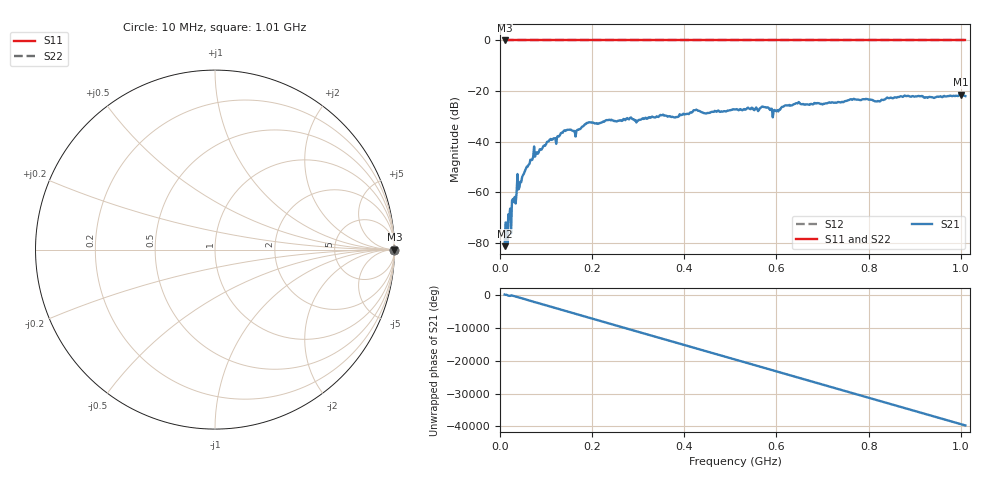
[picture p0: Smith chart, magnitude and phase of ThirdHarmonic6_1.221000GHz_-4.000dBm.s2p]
! 8/16/2025 12:48:21 PM
! C:\ANRITSUVNA\TEMP\TEMP.S2P
! CHANNEL.1
! TR.MEASUREMENT
! RAW.DATA
! RF.CORRECTION.OFF
! AVERAGING.OFF
! IF.BANDWIDTH: 5KHZ
! SWEEPTYPE:  FREQ.SWEEP(Linear)
! Reference Plane Port Info
! PORT:  PORT1  PORT2
! DISTANCE:  0  m  0  m
! TIME:  0  s  0  s
! PHASE.OFFSET:  0  deg.  0  deg.
! LOSS:  0  dB  0  dB
! REF.LOSS:  0  dB  0  dB
! REF.FREQ:  0  Hz  0  Hz
! Power Info
! POWER:  -20  dBm  -20  dBm
! EFF.POWER:  -20  dBm  -20  dBm
! SOURCE.ATTEN:  0  dB  0  dB
! TEST.ATTEN:  0  dB  0  dB
# GHZ S RI R 50.0
! FREQ.GHZ  S11RE  S11IM  S21RE  S21IM  S12RE  S12IM  S22RE  S22IM
!; PortSelection: Port_12
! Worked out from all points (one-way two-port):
!   501 points, 10 MHz to 1.01 GHz, reference 50 ohm
!   highest |S21| = -21.46 dB at 1 GHz (marker M1); lowest = -81.3 dB at 10 MHz (marker M2)
!   lowest |S11| = 0.0 dB at 10 MHz (marker M3)
!   |S11| at or under -10 dB: nowhere
!   |S22| runs from 0.0 to 0.0 dB; largest |S21 - S12| = 1.1
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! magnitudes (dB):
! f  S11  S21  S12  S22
! 10 MHz  0.0  -81.3  0.0  0.0
! 12 MHz  0.0  -71.9  0.0  0.0
! 18 MHz  0.0  -68.7  0.0  0.0
! 20 MHz  0.0  -70.0  0.0  0.0
! 22 MHz  0.0  -66.4  0.0  0.0
! 40 MHz  0.0  -58.8  0.0  0.0
! 70 MHz  0.0  -47.1  0.0  0.0
! 136 MHz  0.0  -36.5  0.0  0.0
! 164 MHz  0.0  -38.0  0.0  0.0
! 178 MHz  0.0  -34.1  0.0  0.0
! 192 MHz  0.0  -32.4  0.0  0.0
! 344 MHz  0.0  -30.2  0.0  0.0
! 382 MHz  0.0  -30.2  0.0  0.0
! 424 MHz  0.0  -27.5  0.0  0.0
! 510 MHz  0.0  -27.3  0.0  0.0
! 572 MHz  0.0  -26.3  0.0  0.0
! 596 MHz  0.0  -27.4  0.0  0.0
! 646 MHz  0.0  -24.9  0.0  0.0
! 678 MHz  0.0  -25.2  0.0  0.0
! 844 MHz  0.0  -22.8  0.0  0.0
! 1 GHz  0.0  -21.5  0.0  0.0
! 1.01 GHz  0.0  -22.0  0.0  0.0
